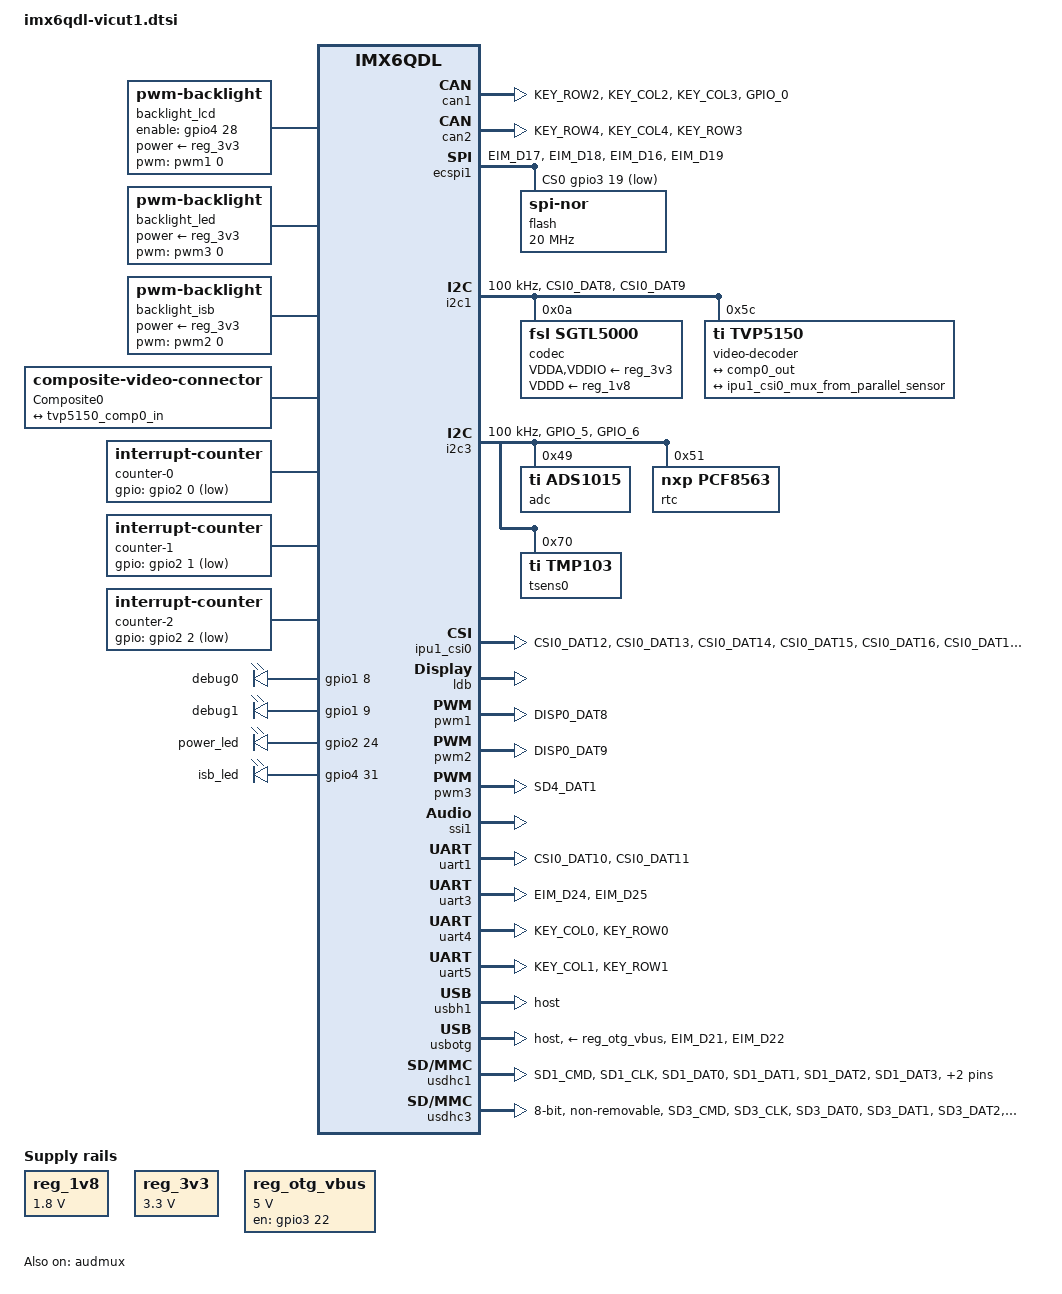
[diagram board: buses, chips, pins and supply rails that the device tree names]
// SPDX-License-Identifier: GPL-2.0-or-later OR MIT
/*
 * Copyright (c) 2014 Protonic Holland
 * Copyright (c) 2020 Oleksij Rempel <kernel@pengutronix.de>, Pengutronix
 */

#include <dt-bindings/display/sdtv-standards.h>
#include <dt-bindings/gpio/gpio.h>
#include <dt-bindings/input/input.h>
#include <dt-bindings/leds/common.h>
#include <dt-bindings/media/tvp5150.h>
#include <dt-bindings/sound/fsl-imx-audmux.h>

/ {
	chosen {
		stdout-path = &uart4;
	};

	backlight_lcd: backlight {
		compatible = "pwm-backlight";
		pinctrl-names = "default";
		pinctrl-0 = <&pinctrl_backlight>;
		pwms = <&pwm1 0 5000000 0>;
		brightness-levels = <0 16 64 255>;
		num-interpolated-steps = <16>;
		default-brightness-level = <48>;
		power-supply = <&reg_3v3>;
		enable-gpios = <&gpio4 28 GPIO_ACTIVE_HIGH>;
	};

	backlight_led: backlight-led {
		compatible = "pwm-backlight";
		pwms = <&pwm3 0 5000000 0>;
		brightness-levels = <0 16 64 255>;
		num-interpolated-steps = <16>;
		default-brightness-level = <48>;
		power-supply = <&reg_3v3>;
	};

	/* only for backwards compatibility with old HW */
	backlight_isb: backlight-isb {
		compatible = "pwm-backlight";
		pwms = <&pwm2 0 5000000 0>;
		brightness-levels = <0 8 48 255>;
		num-interpolated-steps = <5>;
		default-brightness-level = <0>;
		power-supply = <&reg_3v3>;
	};

	connector {
		compatible = "composite-video-connector";
		label = "Composite0";
		sdtv-standards = <SDTV_STD_PAL_B>;

		port {
			comp0_out: endpoint {
				remote-endpoint = <&tvp5150_comp0_in>;
			};
		};
	};

	counter-0 {
		compatible = "interrupt-counter";
		pinctrl-names = "default";
		pinctrl-0 = <&pinctrl_counter0>;
		gpios = <&gpio2 0 GPIO_ACTIVE_LOW>;
	};

	counter-1 {
		compatible = "interrupt-counter";
		pinctrl-names = "default";
		pinctrl-0 = <&pinctrl_counter1>;
		gpios = <&gpio2 1 GPIO_ACTIVE_LOW>;
	};

	counter-2 {
		compatible = "interrupt-counter";
		pinctrl-names = "default";
		pinctrl-0 = <&pinctrl_counter2>;
		gpios = <&gpio2 2 GPIO_ACTIVE_LOW>;
	};

	leds {
		compatible = "gpio-leds";
		pinctrl-names = "default";
		pinctrl-0 = <&pinctrl_leds>;

		led-0 {
			label = "debug0";
			function = LED_FUNCTION_HEARTBEAT;
			gpios = <&gpio1 8 GPIO_ACTIVE_HIGH>;
			linux,default-trigger = "heartbeat";
		};

		led-1 {
			label = "debug1";
			function = LED_FUNCTION_DISK;
			gpios = <&gpio1 9 GPIO_ACTIVE_HIGH>;
			linux,default-trigger = "disk-activity";
		};

		led-2 {
			label = "power_led";
			function = LED_FUNCTION_POWER;
			gpios = <&gpio2 24 GPIO_ACTIVE_HIGH>;
			default-state = "on";
		};

		led-3 {
			label = "isb_led";
			function = LED_FUNCTION_POWER;
			gpios = <&gpio4 31 GPIO_ACTIVE_HIGH>;
			default-state = "on";
		};
	};

	reg_1v8: regulator-1v8 {
		compatible = "regulator-fixed";
		regulator-name = "1v8";
		regulator-min-microvolt = <1800000>;
		regulator-max-microvolt = <1800000>;
	};

	reg_3v3: regulator-3v3 {
		compatible = "regulator-fixed";
		regulator-name = "3v3";
		regulator-min-microvolt = <3300000>;
		regulator-max-microvolt = <3300000>;
	};

	reg_otg_vbus: regulator-otg-vbus {
		compatible = "regulator-fixed";
		regulator-name = "otg-vbus";
		regulator-min-microvolt = <5000000>;
		regulator-max-microvolt = <5000000>;
		gpio = <&gpio3 22 GPIO_ACTIVE_HIGH>;
		enable-active-high;
	};

	sound {
		compatible = "simple-audio-card";
		simple-audio-card,name = "prti6q-sgtl5000";
		simple-audio-card,format = "i2s";
		simple-audio-card,widgets =
			"Microphone", "Microphone Jack",
			"Line", "Line In Jack",
			"Headphone", "Headphone Jack",
			"Speaker", "External Speaker";
		simple-audio-card,routing =
			"MIC_IN", "Microphone Jack",
			"LINE_IN", "Line In Jack",
			"Headphone Jack", "HP_OUT",
			"External Speaker", "LINE_OUT";

		simple-audio-card,cpu {
			sound-dai = <&ssi1>;
			system-clock-frequency = <0>; /* Do NOT call fsl_ssi_set_dai_sysclk! */
		};

		simple-audio-card,codec {
			sound-dai = <&codec>;
			bitclock-master;
			frame-master;
		};
	};

	thermal-zones {
		chassis-thermal {
			polling-delay = <20000>;
			polling-delay-passive = <0>;
			thermal-sensors = <&tsens0>;
		};
	};
};

&audmux {
	pinctrl-names = "default";
	pinctrl-0 = <&pinctrl_audmux>;
	status = "okay";

	mux-ssi1 {
		fsl,audmux-port = <0>;
		fsl,port-config = <
			IMX_AUDMUX_V2_PTCR_SYN		0
			IMX_AUDMUX_V2_PTCR_TFSEL(2)	0
			IMX_AUDMUX_V2_PTCR_TCSEL(2)	0
			IMX_AUDMUX_V2_PTCR_TFSDIR	0
			IMX_AUDMUX_V2_PTCR_TCLKDIR	IMX_AUDMUX_V2_PDCR_RXDSEL(2)
		>;
	};

	mux-pins3 {
		fsl,audmux-port = <2>;
		fsl,port-config = <
			IMX_AUDMUX_V2_PTCR_SYN		IMX_AUDMUX_V2_PDCR_RXDSEL(0)
			0				IMX_AUDMUX_V2_PDCR_TXRXEN
		>;
	};
};

&can1 {
	pinctrl-names = "default";
	pinctrl-0 = <&pinctrl_can1>;
	termination-gpios = <&gpio1 0 GPIO_ACTIVE_LOW>;
	termination-ohms = <150>;
	status = "okay";
};

&can2 {
	pinctrl-names = "default";
	pinctrl-0 = <&pinctrl_can2>;
	status = "okay";
};

&clks {
	assigned-clocks = <&clks IMX6QDL_CLK_LDB_DI0_SEL>;
	assigned-clock-parents = <&clks IMX6QDL_CLK_PLL5_VIDEO_DIV>;
};

&ecspi1 {
	cs-gpios = <&gpio3 19 GPIO_ACTIVE_LOW>;
	pinctrl-names = "default";
	pinctrl-0 = <&pinctrl_ecspi1>;
	status = "okay";

	flash@0 {
		compatible = "jedec,spi-nor";
		reg = <0>;
		spi-max-frequency = <20000000>;
	};
};

&gpio2 {
	gpio-line-names =
		"YACO_WHEEL", "YACO_RADAR", "YACO_PTO", "", "", "", "", "",
		"", "LED_PWM", "", "", "",
			"", "", "",
		"", "", "", "", "", "ISB_IN2", "ISB_nIN1", "ON_SWITCH",
		"POWER_LED", "", "", "", "", "", "", "";
};

&gpio3 {
	gpio-line-names =
		"", "", "", "", "", "", "", "",
		"", "", "", "", "", "", "", "",
		"ECSPI1_SCLK", "ECSPI1_MISO", "ECSPI1_MOSI", "ECSPI1_SS1",
			"CPU_ON1_FB", "USB_OTG_OC", "USB_OTG_PWR", "YACO_IRQ",
		"TSS_TXD", "TSS_RXD", "", "", "", "", "YACO_BOOT0",
			"YACO_RESET";
};

&gpio7 {
	gpio-line-names =
		"EMMC_DAT5", "EMMC_DAT4", "EMMC_CMD", "EMMC_CLK", "EMMC_DAT0",
			"EMMC_DAT1", "EMMC_DAT2", "EMMC_DAT3",
		"EMMC_RST", "", "", "", "CAM_DETECT", "", "", "",
		"", "EMMC_DAT7", "EMMC_DAT6", "", "", "", "", "",
		"", "", "", "", "", "", "", "";
};

&i2c1 {
	clock-frequency = <100000>;
	pinctrl-names = "default";
	pinctrl-0 = <&pinctrl_i2c1>;
	status = "okay";

	codec: audio-codec@a {
		compatible = "fsl,sgtl5000";
		reg = <0xa>;
		#sound-dai-cells = <0>;
		clocks = <&clks 201>;
		VDDA-supply = <&reg_3v3>;
		VDDIO-supply = <&reg_3v3>;
		VDDD-supply = <&reg_1v8>;
	};

	video-decoder@5c {
		compatible = "ti,tvp5150";
		reg = <0x5c>;
		#address-cells = <1>;
		#size-cells = <0>;

		port@0 {
			reg = <0>;

			tvp5150_comp0_in: endpoint {
				remote-endpoint = <&comp0_out>;
			};
		};

		/* Output port 2 is video output pad */
		port@2 {
			reg = <2>;

			tvp5151_to_ipu1_csi0_mux: endpoint {
				remote-endpoint = <&ipu1_csi0_mux_from_parallel_sensor>;
			};
		};
	};
};

&i2c3 {
	clock-frequency = <100000>;
	pinctrl-names = "default";
	pinctrl-0 = <&pinctrl_i2c3>;
	status = "okay";

	adc@49 {
		compatible = "ti,ads1015";
		reg = <0x49>;
		#address-cells = <1>;
		#size-cells = <0>;

		channel@4 {
			reg = <4>;
			ti,gain = <3>;
			ti,datarate = <3>;
		};

		channel@5 {
			reg = <5>;
			ti,gain = <3>;
			ti,datarate = <3>;
		};

		channel@6 {
			reg = <6>;
			ti,gain = <3>;
			ti,datarate = <3>;
		};

		channel@7 {
			reg = <7>;
			ti,gain = <3>;
			ti,datarate = <3>;
		};
	};

	rtc@51 {
		compatible = "nxp,pcf8563";
		reg = <0x51>;
	};

	tsens0: temperature-sensor@70 {
		compatible = "ti,tmp103";
		reg = <0x70>;
		#thermal-sensor-cells = <0>;
	};
};

&ipu1_csi0 {
	pinctrl-names = "default";
	pinctrl-0 = <&pinctrl_ipu1_csi0>;
	status = "okay";
};

&ipu1_csi0_mux_from_parallel_sensor {
	remote-endpoint = <&tvp5151_to_ipu1_csi0_mux>;
};

&ldb {
	status = "okay";

	lvds-channel@0 {
		status = "okay";

		port@4 {
			reg = <4>;

			lvds0_out: endpoint {
				remote-endpoint = <&panel_in>;
			};
		};
	};
};

&pwm1 {
	pinctrl-names = "default";
	pinctrl-0 = <&pinctrl_pwm1>;
	status = "okay";
};

&pwm2 {
	pinctrl-names = "default";
	pinctrl-0 = <&pinctrl_pwm2>;
	status = "okay";
};

&pwm3 {
	pinctrl-names = "default";
	pinctrl-0 = <&pinctrl_pwm3>;
	status = "okay";
};

&ssi1 {
	#sound-dai-cells = <0>;
	fsl,mode = "ac97-slave";
	status = "okay";
};

&uart1 {
	pinctrl-names = "default";
	pinctrl-0 = <&pinctrl_uart1>;
	status = "okay";
};

&uart3 {
	pinctrl-names = "default";
	pinctrl-0 = <&pinctrl_uart3>;
	status = "okay";
};

&uart4 {
	pinctrl-names = "default";
	pinctrl-0 = <&pinctrl_uart4>;
	status = "okay";
};

&uart5 {
	pinctrl-names = "default";
	pinctrl-0 = <&pinctrl_uart5>;
	status = "okay";
};

&usbh1 {
	pinctrl-names = "default";
	phy_type = "utmi";
	dr_mode = "host";
	status = "okay";
};

&usbotg {
	vbus-supply = <&reg_otg_vbus>;
	pinctrl-names = "default";
	pinctrl-0 = <&pinctrl_usbotg>;
	phy_type = "utmi";
	dr_mode = "host";
	disable-over-current;
	status = "okay";
};

&usdhc1 {
	pinctrl-names = "default";
	pinctrl-0 = <&pinctrl_usdhc1>;
	cd-gpios = <&gpio1 1 GPIO_ACTIVE_LOW>;
	no-1-8-v;
	disable-wp;
	cap-sd-highspeed;
	no-mmc;
	no-sdio;
	status = "okay";
};

&usdhc3 {
	pinctrl-names = "default";
	pinctrl-0 = <&pinctrl_usdhc3>;
	bus-width = <8>;
	no-1-8-v;
	non-removable;
	no-sd;
	no-sdio;
	status = "okay";
};

&iomuxc {
	pinctrl-names = "default";
	pinctrl-0 = <&pinctrl_hog>;

	pinctrl_audmux: audmuxgrp {
		fsl,pins = <
			/* SGTL5000 sys_mclk */
			MX6QDL_PAD_CSI0_MCLK__CCM_CLKO1			0x030b0
			MX6QDL_PAD_CSI0_DAT7__AUD3_RXD			0x130b0
			MX6QDL_PAD_CSI0_DAT4__AUD3_TXC			0x130b0
			MX6QDL_PAD_CSI0_DAT5__AUD3_TXD			0x110b0
			MX6QDL_PAD_CSI0_DAT6__AUD3_TXFS			0x130b0
		>;
	};

	pinctrl_backlight: backlightgrp {
		fsl,pins = <
			MX6QDL_PAD_DISP0_DAT7__GPIO4_IO28		0x1b0b0
		>;
	};

	pinctrl_can1: can1grp {
		fsl,pins = <
			MX6QDL_PAD_KEY_ROW2__FLEXCAN1_RX		0x1b000
			MX6QDL_PAD_KEY_COL2__FLEXCAN1_TX		0x3008
			/* CAN1_SR */
			MX6QDL_PAD_KEY_COL3__GPIO4_IO12			0x13008
			/* CAN1_TERM */
			MX6QDL_PAD_GPIO_0__GPIO1_IO00			0x1b088
		>;
	};

	pinctrl_can2: can2grp {
		fsl,pins = <
			MX6QDL_PAD_KEY_ROW4__FLEXCAN2_RX		0x1b000
			MX6QDL_PAD_KEY_COL4__FLEXCAN2_TX		0x3008
			/* CAN2_SR */
			MX6QDL_PAD_KEY_ROW3__GPIO4_IO13			0x13008
		>;
	};

	pinctrl_counter0: counter0grp {
		fsl,pins = <
			MX6QDL_PAD_NANDF_D0__GPIO2_IO00			0x1b000
		>;
	};

	pinctrl_counter1: counter1grp {
		fsl,pins = <
			MX6QDL_PAD_NANDF_D1__GPIO2_IO01			0x1b000
		>;
	};

	pinctrl_counter2: counter2grp {
		fsl,pins = <
			MX6QDL_PAD_NANDF_D2__GPIO2_IO02			0x1b000
		>;
	};

	pinctrl_ecspi1: ecspi1grp {
		fsl,pins = <
			MX6QDL_PAD_EIM_D17__ECSPI1_MISO			0x100b1
			MX6QDL_PAD_EIM_D18__ECSPI1_MOSI			0x100b1
			MX6QDL_PAD_EIM_D16__ECSPI1_SCLK			0x100b1
			/* CS */
			MX6QDL_PAD_EIM_D19__GPIO3_IO19			0x000b1
		>;
	};

	pinctrl_hog: hoggrp {
		fsl,pins = <
			/* ITU656_nRESET */
			MX6QDL_PAD_GPIO_2__GPIO1_IO02			0x1b0b0
			/* CAM1_MIRROR */
			MX6QDL_PAD_GPIO_3__GPIO1_IO03			0x130b0
			/* CAM2_MIRROR */
			MX6QDL_PAD_GPIO_4__GPIO1_IO04			0x130b0
			/* CAM_nDETECT */
			MX6QDL_PAD_GPIO_17__GPIO7_IO12			0x1b0b0
			/* ISB_IN1 */
			MX6QDL_PAD_EIM_A16__GPIO2_IO22			0x130b0
			/* ISB_nIN2 */
			MX6QDL_PAD_EIM_A17__GPIO2_IO21			0x1b0b0
			/* WARN_LIGHT */
			MX6QDL_PAD_EIM_A19__GPIO2_IO19			0x100b0
			/* ON2_FB */
			MX6QDL_PAD_EIM_A25__GPIO5_IO02			0x100b0
			/* YACO_nIRQ */
			MX6QDL_PAD_EIM_D23__GPIO3_IO23			0x1b0b0
			/* YACO_BOOT0 */
			MX6QDL_PAD_EIM_D30__GPIO3_IO30			0x130b0
			/* YACO_nRESET */
			MX6QDL_PAD_EIM_D31__GPIO3_IO31			0x1b0b0
			/* FORCE_ON1 */
			MX6QDL_PAD_EIM_EB2__GPIO2_IO30			0x1b0b0
			/* AUDIO_nRESET */
			MX6QDL_PAD_CSI0_VSYNC__GPIO5_IO21		0x1f0b0
			/* ITU656_nPDN */
			MX6QDL_PAD_CSI0_DATA_EN__GPIO5_IO20		0x1b0b0

			/* New in HW revision 1 */
			/* ON1_FB */
			MX6QDL_PAD_EIM_D20__GPIO3_IO20			0x100b0
			/* DIP1_FB */
			MX6QDL_PAD_DI0_PIN2__GPIO4_IO18			0x1b0b0
		>;
	};

	pinctrl_i2c1: i2c1grp {
		fsl,pins = <
			MX6QDL_PAD_CSI0_DAT8__I2C1_SDA		0x4001f8b1
			MX6QDL_PAD_CSI0_DAT9__I2C1_SCL		0x4001f8b1
		>;
	};

	pinctrl_i2c3: i2c3grp {
		fsl,pins = <
			MX6QDL_PAD_GPIO_5__I2C3_SCL		0x4001b8b1
			MX6QDL_PAD_GPIO_6__I2C3_SDA		0x4001b8b1
		>;
	};

	pinctrl_ipu1_csi0: ipu1csi0grp {
		fsl,pins = <
			MX6QDL_PAD_CSI0_DAT12__IPU1_CSI0_DATA12		0x1b0b0
			MX6QDL_PAD_CSI0_DAT13__IPU1_CSI0_DATA13		0x1b0b0
			MX6QDL_PAD_CSI0_DAT14__IPU1_CSI0_DATA14		0x1b0b0
			MX6QDL_PAD_CSI0_DAT15__IPU1_CSI0_DATA15		0x1b0b0
			MX6QDL_PAD_CSI0_DAT16__IPU1_CSI0_DATA16		0x1b0b0
			MX6QDL_PAD_CSI0_DAT17__IPU1_CSI0_DATA17		0x1b0b0
			MX6QDL_PAD_CSI0_DAT18__IPU1_CSI0_DATA18		0x1b0b0
			MX6QDL_PAD_CSI0_DAT19__IPU1_CSI0_DATA19		0x1b0b0
			MX6QDL_PAD_CSI0_PIXCLK__IPU1_CSI0_PIXCLK	0x1b0b0
		>;
	};

	pinctrl_leds: ledsgrp {
		fsl,pins = <
			/* DEBUG0 */
			MX6QDL_PAD_DI0_DISP_CLK__GPIO4_IO16		0x1b0b0
			/* DEBUG1 */
			MX6QDL_PAD_DI0_PIN15__GPIO4_IO17		0x1b0b0
			/* POWER_LED */
			MX6QDL_PAD_EIM_CS1__GPIO2_IO24			0x1b0b0
			/* ISB_LED */
			MX6QDL_PAD_DISP0_DAT10__GPIO4_IO31		0x1b0b0
		>;
	};

	pinctrl_pwm1: pwm1grp {
		fsl,pins = <
			MX6QDL_PAD_DISP0_DAT8__PWM1_OUT			0x1b0b0
		>;
	};

	pinctrl_pwm2: pwm2grp {
		fsl,pins = <
			MX6QDL_PAD_DISP0_DAT9__PWM2_OUT			0x1b0b0
		>;
	};

	pinctrl_pwm3: pwm3grp {
		fsl,pins = <
			MX6QDL_PAD_SD4_DAT1__PWM3_OUT			0x1b0b0
		>;
	};

	/* YaCO AUX Uart */
	pinctrl_uart1: uart1grp {
		fsl,pins = <
			MX6QDL_PAD_CSI0_DAT10__UART1_TX_DATA		0x1b0b1
			MX6QDL_PAD_CSI0_DAT11__UART1_RX_DATA		0x1b0b1
		>;
	};

	/* YaCO Touchscreen UART */
	pinctrl_uart3: uart3grp {
		fsl,pins = <
			MX6QDL_PAD_EIM_D24__UART3_TX_DATA		0x1b0b1
			MX6QDL_PAD_EIM_D25__UART3_RX_DATA		0x1b0b1
		>;
	};

	pinctrl_uart4: uart4grp {
		fsl,pins = <
			MX6QDL_PAD_KEY_COL0__UART4_TX_DATA		0x1b0b1
			MX6QDL_PAD_KEY_ROW0__UART4_RX_DATA		0x1b0b1
		>;
	};

	pinctrl_uart5: uart5grp {
		fsl,pins = <
			MX6QDL_PAD_KEY_COL1__UART5_TX_DATA		0x1b0b1
			MX6QDL_PAD_KEY_ROW1__UART5_RX_DATA		0x1b0b1
		>;
	};

	pinctrl_usbotg: usbotggrp {
		fsl,pins = <
			MX6QDL_PAD_EIM_D21__USB_OTG_OC			0x1b0b0
			/* power enable, high active */
			MX6QDL_PAD_EIM_D22__GPIO3_IO22			0x1b0b0
		>;
	};

	pinctrl_usdhc1: usdhc1grp {
		fsl,pins = <
			MX6QDL_PAD_SD1_CMD__SD1_CMD			0x170f9
			MX6QDL_PAD_SD1_CLK__SD1_CLK			0x100f9
			MX6QDL_PAD_SD1_DAT0__SD1_DATA0			0x170f9
			MX6QDL_PAD_SD1_DAT1__SD1_DATA1			0x170f9
			MX6QDL_PAD_SD1_DAT2__SD1_DATA2			0x170f9
			MX6QDL_PAD_SD1_DAT3__SD1_DATA3			0x170f9
			MX6QDL_PAD_GPIO_1__GPIO1_IO01			0x1b0b0
		>;
	};

	pinctrl_usdhc3: usdhc3grp {
		fsl,pins = <
			MX6QDL_PAD_SD3_CMD__SD3_CMD			0x17099
			MX6QDL_PAD_SD3_CLK__SD3_CLK			0x10099
			MX6QDL_PAD_SD3_DAT0__SD3_DATA0			0x17099
			MX6QDL_PAD_SD3_DAT1__SD3_DATA1			0x17099
			MX6QDL_PAD_SD3_DAT2__SD3_DATA2			0x17099
			MX6QDL_PAD_SD3_DAT3__SD3_DATA3			0x17099
			MX6QDL_PAD_SD3_DAT4__SD3_DATA4			0x17099
			MX6QDL_PAD_SD3_DAT5__SD3_DATA5			0x17099
			MX6QDL_PAD_SD3_DAT6__SD3_DATA6			0x17099
			MX6QDL_PAD_SD3_DAT7__SD3_DATA7			0x17099
			MX6QDL_PAD_SD3_RST__SD3_RESET			0x1b0b1
		>;
	};
};
